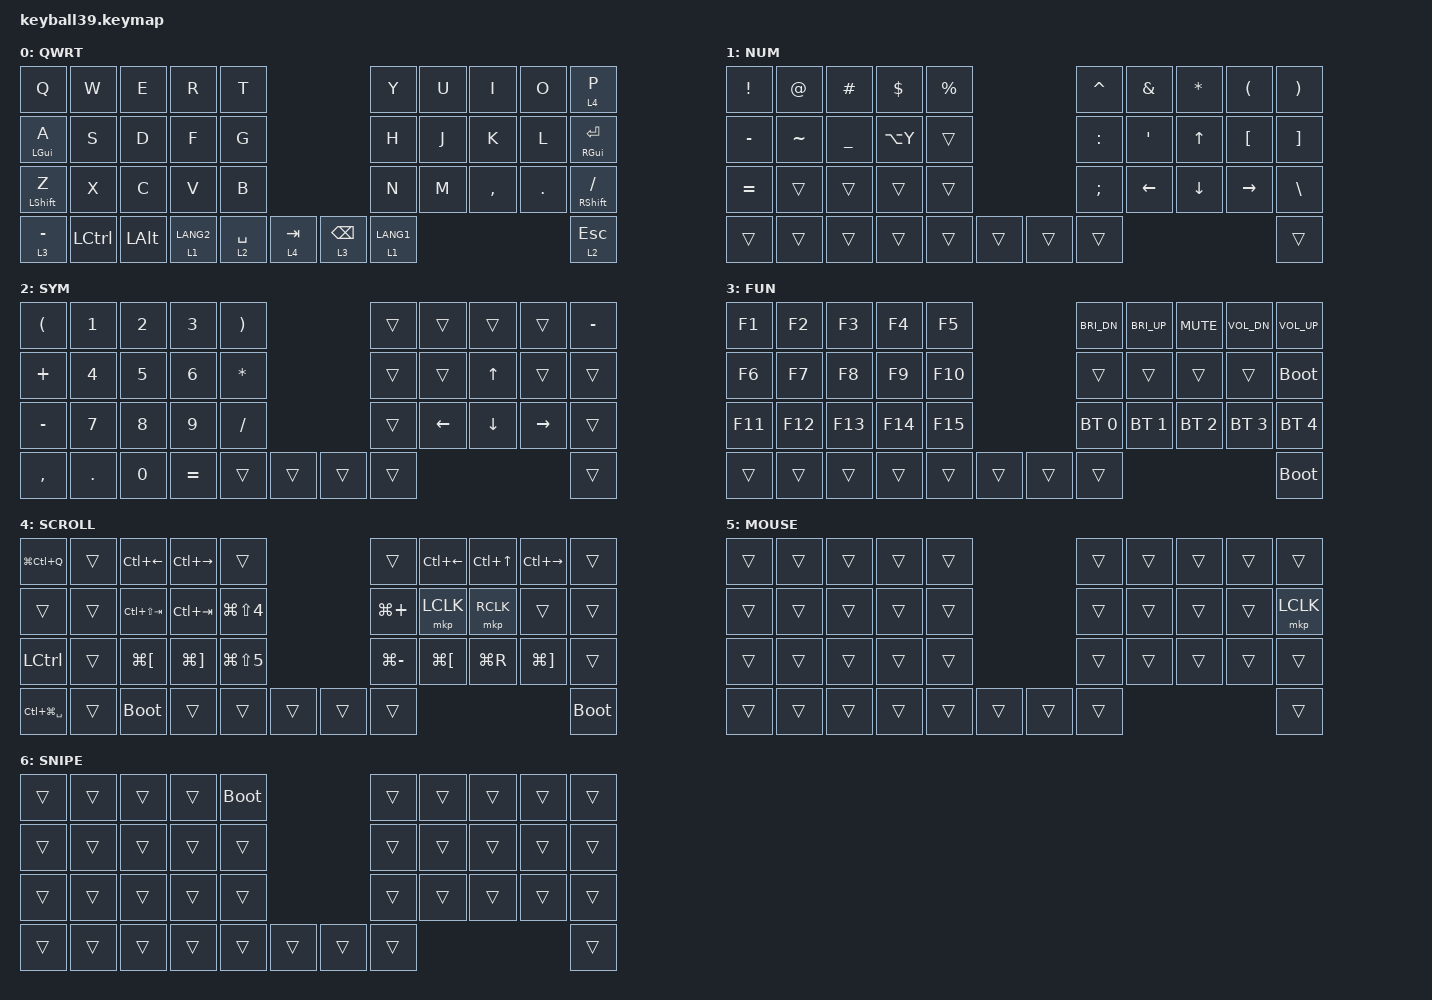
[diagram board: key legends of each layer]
#define DEFAULT 0
#define NUM     1
#define SYM     2
#define FUN     3
#define SCROL   4
#define MOUSE   5
#define SNIPE   6

#include <behaviors/mouse_keys.dtsi>
#include <dt-bindings/zmk/mouse.h>
#include <behaviors.dtsi>
#include <dt-bindings/zmk/bt.h>
#include <dt-bindings/zmk/keys.h>

&nice_view_spi { cs-gpios = <&pro_micro 1 GPIO_ACTIVE_HIGH>; };

&lt {
    tapping-term-ms = <240>;
    flavor = "balanced";
    quick-tap-ms = <150>;
};

&mt {
    tapping-term-ms = <200>;
    flavor = "tap-preferred";
    quick-tap-ms = <150>;
};

&caps_word { continue-list = <UNDERSCORE MINUS>; };

/ {
    behaviors {
        lt_slow: layer_tap_slow {
            compatible = "zmk,behavior-hold-tap";
            #binding-cells = <2>;
            tapping-term-ms = <800>;
            flavor = "balanced";
            quick-tap-ms = <150>;
            bindings = <&mo>, <&kp>;
        };
    };
};

/ {
    keymap {
        compatible = "zmk,keymap";

        // シート「レイヤー0」
        default_layer {
            label = "QWRT";
            bindings = <
&kp Q            &kp W       &kp E     &kp R          &kp T                                        &kp Y     &kp U          &kp I      &kp O    &lt 4 P
&mt LGUI A       &kp S       &kp D     &kp F          &kp G                                        &kp H     &kp J          &kp K      &kp L    &mt RGUI ENTER
&mt LSHFT Z      &kp X       &kp C     &kp V          &kp B                                        &kp N     &kp M          &kp COMMA  &kp DOT  &mt RSHFT SLASH
&lt_slow 3 MINUS &kp LCTRL   &kp LALT  &lt 1 LANG2    &lt 2 SPACE    &lt 4 TAB       &lt 3 BSPC    &lt 1 LANG1                                  &lt 2 ESC
            >;
        };

        // シート「レイヤー1」（記号・矢印）
        number_layer {
            label = "NUM";
            bindings = <
&kp EXCL   &kp AT      &kp HASH   &kp DLLR   &kp PRCNT                            &kp CARET  &kp AMPS   &kp ASTRK  &kp LPAR   &kp RPAR
&kp MINUS  &kp TILDE   &kp UNDER  &kp LA(Y)  &trans                               &kp COLON  &kp SQT    &kp UP     &kp LBKT   &kp RBKT
&kp EQUAL  &trans      &trans     &trans     &trans                               &kp SEMI   &kp LEFT   &kp DOWN   &kp RIGHT  &kp BSLH
&trans     &trans      &trans     &trans     &trans     &trans     &trans         &trans                                      &trans
            >;
        };

        // シート「レイヤー2」（テンキー・矢印）
        symbol_layer {
            label = "SYM";
            bindings = <
&kp LPAR   &kp N1     &kp N2     &kp N3     &kp RPAR                             &trans     &trans     &trans     &trans     &kp MINUS
&kp PLUS   &kp N4     &kp N5     &kp N6     &kp ASTRK                            &trans     &trans     &kp UP     &trans     &trans
&kp MINUS  &kp N7     &kp N8     &kp N9     &kp SLASH                            &trans     &kp LEFT   &kp DOWN   &kp RIGHT  &trans
&kp COMMA  &kp DOT    &kp N0     &kp EQUAL  &trans     &trans     &trans         &trans                                      &trans
            >;
        };

        // シート「レイヤー3」（Fキー・画面/音量・Bluetooth）
        function_layer {
            label = "FUN";
            bindings = <
&kp F1     &kp F2     &kp F3     &kp F4     &kp F5                               &kp C_BRI_DN  &kp C_BRI_UP  &kp C_MUTE    &kp C_VOL_DN  &kp C_VOL_UP
&kp F6     &kp F7     &kp F8     &kp F9     &kp F10                              &trans        &trans        &trans        &trans        &bootloader
&kp F11    &kp F12    &kp F13    &kp F14    &kp F15                              &bt BT_SEL 0  &bt BT_SEL 1  &bt BT_SEL 2  &bt BT_SEL 3  &bt BT_SEL 4
&trans     &trans     &trans     &trans     &trans     &trans     &trans         &trans                                                  &bootloader
            >;
        };

        // シート「レイヤー4」（画面操作関連）
        scroll_layer {
            label = "SCROLL";
            bindings = <
&kp LG(LC(Q))      &trans   &kp LC(LEFT)     &kp LC(RIGHT)  &trans                               &trans          &kp LC(LEFT)  &kp LC(UP)  &kp LC(RIGHT)  &trans
&trans             &trans   &kp LC(LS(TAB))  &kp LC(TAB)    &kp LG(LS(N4))                       &kp LG(PLUS)    &mkp LCLK     &mkp RCLK   &trans         &trans
&kp LCTRL          &trans   &kp LG(LBKT)     &kp LG(RBKT)   &kp LG(LS(N5))                       &kp LG(MINUS)   &kp LG(LBKT)  &kp LG(R)   &kp LG(RBKT)   &trans
&kp LC(LG(SPACE))  &trans   &bootloader      &trans         &trans     &trans     &trans         &trans                                                  &bootloader
            >;
        };

        // シート「レイヤー5」（トラックボールを動かした直後）
        mouse_layer {
            label = "MOUSE";
            bindings = <
&trans     &trans     &trans     &trans     &trans                               &trans     &trans     &trans     &trans     &trans
&trans     &trans     &trans     &trans     &trans                               &trans     &trans     &trans     &trans     &mkp LCLK
&trans     &trans     &trans     &trans     &trans                               &trans     &trans     &trans     &trans     &trans
&trans     &trans     &trans     &trans     &trans     &trans     &trans         &trans                                      &trans
            >;
        };

        snipe_layer {
            label = "SNIPE";
            bindings = <
&trans  &trans  &trans  &trans  &bootloader                  &trans  &trans  &trans  &trans  &trans
&trans  &trans  &trans  &trans  &trans                       &trans  &trans  &trans  &trans  &trans
&trans  &trans  &trans  &trans  &trans                       &trans  &trans  &trans  &trans  &trans
&trans  &trans  &trans  &trans  &trans       &trans  &trans  &trans                          &trans
            >;
        };
    };
};
